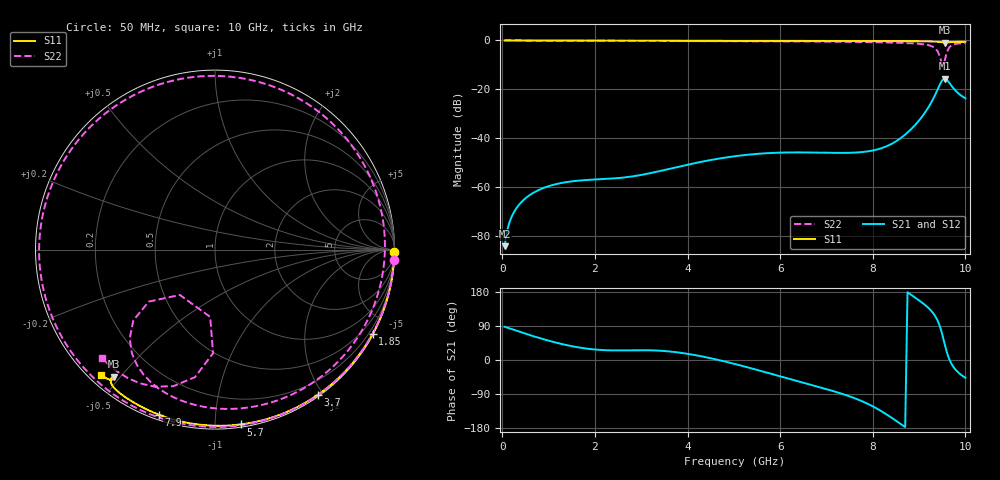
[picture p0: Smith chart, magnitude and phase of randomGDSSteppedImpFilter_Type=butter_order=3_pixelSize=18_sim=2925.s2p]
! freq	dB(S11)	phase(S11)	dB(S12)	phase(S12)
!  dB(S21)	phase(S21)	dB(S22)	phase(S22)
!S-par simulation data
#  GHz  S  DB  R 50
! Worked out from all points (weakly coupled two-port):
!   200 points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, 50 MHz to 10 GHz, reference 50 ohm
!   highest |S21| = -15.60 dB at 9.55 GHz (marker M1); lowest = -84.3 dB at 50 MHz (marker M2)
!   lowest |S11| = -0.9 dB at 9.55 GHz (marker M3), VSWR 20.05, Z = 3.07 - j24.1 ohm
!   |S11| at or under -10 dB: nowhere
!   |S22| runs from -9.9 to 0.0 dB; largest |S21 - S12| = 0
!   S11 on the Smith chart (normalised r, x): 50 MHz: open; 1.85 GHz: 0.03, -4.00; 3.7 GHz: 0.02, -1.93; 5.7 GHz: 0.02, -1.16; 7.9 GHz: 0.02, -0.71; 10 GHz: 0.04, -0.44
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0.05  -0.00 -0.8  -84.32 87.8  -84.32 87.8  -0.00 -3.5
0.3  -0.01 -4.6  -68.89 77.5  -68.89 77.5  -0.03 -20.5
0.6  -0.01 -9.2  -63.27 65.5  -63.27 65.5  -0.05 -40.5
1.15  -0.02 -17.6  -58.93 46.2  -58.93 46.2  -0.09 -75.1
1.75  -0.03 -26.6  -57.29 31.3  -57.29 31.3  -0.12 -109.2
1.85  -0.04 -28.1  -57.16 29.6  -57.16 29.6  -0.12 -114.6
2.65  -0.05 -39.8  -56.12 25.5  -56.12 25.5  -0.15 -154.2
3.4  -0.07 -50.6  -53.53 24.6  -53.53 24.6  -0.18 171.7
3.7  -0.07 -54.8  -52.22 21.4  -52.22 21.4  -0.19 158.3
5.05  -0.11 -73.2  -47.38 -11.4  -47.38 -11.4  -0.27 96.8
5.7  -0.14 -81.7  -46.23 -32.8  -46.23 -32.8  -0.32 65.2
6.7  -0.18 -94.3  -45.94 -66.7  -45.94 -66.7  -0.43 14.4
7.3  -0.21 -101.7  -46.10 -87.9  -46.10 -87.9  -0.53 -16.5
7.9  -0.25 -108.9  -45.44 -116.1  -45.44 -116.1  -0.68 -47.2
8.35  -0.29 -114.3  -42.93 -147.8  -42.93 -147.8  -0.85 -70.3
8.9  -0.33 -121.0  -34.95 166.0  -34.95 166.0  -1.23 -99.9
9.3  -0.42 -126.4  -24.09 124.2  -24.09 124.2  -2.61 -128.7
9.45  -0.63 -128.7  -18.03 88.6  -18.03 88.6  -6.58 -141.9
9.5  -0.78 -128.9  -16.31 67.9  -16.31 67.9  -9.90 -127.8
9.55  -0.87 -128.5  -15.60 43.3  -15.60 43.3  -8.49 -94.1
9.7  -0.66 -128.5  -18.59 -10.3  -18.59 -10.3  -1.99 -106.9
10  -0.52 -132.3  -23.69 -46.9  -23.69 -46.9  -1.18 -136.0
